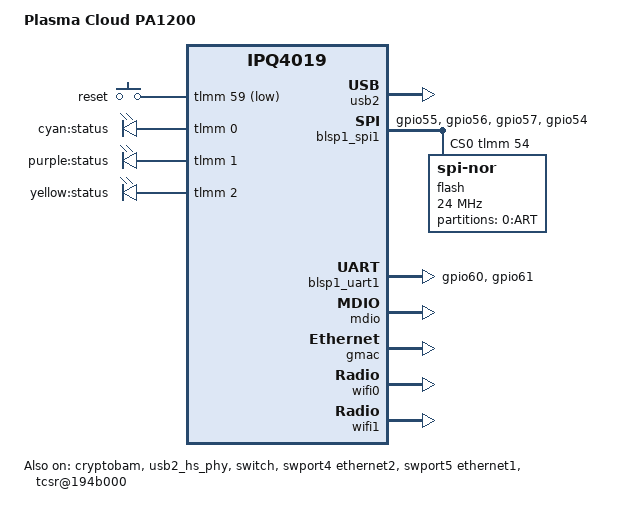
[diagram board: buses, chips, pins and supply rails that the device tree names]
// SPDX-License-Identifier: GPL-2.0-or-later OR MIT
/* Copyright (c) 2017-2020, Sven Eckelmann <sven@narfation.org>
 * Copyright (c) 2018, Marek Lindner <marek.lindner@kaiwoo.ai>
 */

#include "qcom-ipq4019.dtsi"
#include <dt-bindings/gpio/gpio.h>
#include <dt-bindings/input/input.h>
#include <dt-bindings/soc/qcom,tcsr.h>

/ {
	model = "Plasma Cloud PA1200";
	compatible = "plasmacloud,pa1200";

	soc {
		rng@22000 {
			status = "okay";
		};

		tcsr@194b000 {
			/* select hostmode */
			compatible = "qcom,tcsr";
			reg = <0x194b000 0x100>;
			qcom,usb-hsphy-mode-select = <TCSR_USB_HSPHY_HOST_MODE>;
			status = "okay";
		};

		tcsr@1949000 {
			compatible = "qcom,tcsr";
			reg = <0x1949000 0x100>;
			qcom,wifi_glb_cfg = <TCSR_WIFI_GLB_CFG>;
		};

		ess_tcsr@1953000 {
			compatible = "qcom,tcsr";
			reg = <0x1953000 0x1000>;
			qcom,ess-interface-select = <TCSR_ESS_PSGMII>;
		};

		tcsr@1957000 {
			compatible = "qcom,tcsr";
			reg = <0x1957000 0x100>;
			qcom,wifi_noc_memtype_m0_m2 = <TCSR_WIFI_NOC_MEMTYPE_M0_M2>;
		};

		usb2: usb2@60f8800 {
			status = "okay";
		};

		crypto@8e3a000 {
			status = "okay";
		};

		watchdog@b017000 {
			status = "okay";
		};
	};

	keys {
		compatible = "gpio-keys";

		reset {
			label = "reset";
			gpios = <&tlmm 59 GPIO_ACTIVE_LOW>;
			linux,code = <KEY_RESTART>;
		};
	};

	aliases {
		led-boot = &led_status_purple;
		led-failsafe = &led_status_yellow;
		led-running = &led_status_cyan;
		led-upgrade = &led_status_yellow;
		label-mac-device = &swport5;
	};

	leds {
		compatible = "gpio-leds";

		led_status_cyan: status_cyan {
			label = "cyan:status";
			gpios = <&tlmm 0 GPIO_ACTIVE_HIGH>;
		};

		led_status_purple: status_purple {
			label = "purple:status";
			gpios = <&tlmm 1 GPIO_ACTIVE_HIGH>;
		};

		led_status_yellow: status_yellow {
			label = "yellow:status";
			gpios = <&tlmm 2 GPIO_ACTIVE_HIGH>;
		};
	};

};

&tlmm {
	serial_pins: serial_pinmux {
		mux {
			pins = "gpio60", "gpio61";
			function = "blsp_uart0";
			bias-disable;
		};
	};

	spi_0_pins: spi_0_pinmux {
		pin {
			function = "blsp_spi0";
			pins = "gpio55", "gpio56", "gpio57";
			drive-strength = <12>;
			bias-disable;
		};
		pin_cs {
			function = "gpio";
			pins = "gpio54";
			drive-strength = <2>;
			bias-disable;
			output-high;
		};
	};
};

&blsp_dma {
	status = "okay";
};

&blsp1_spi1 {
	pinctrl-0 = <&spi_0_pins>;
	pinctrl-names = "default";
	status = "okay";
	cs-gpios = <&tlmm 54 GPIO_ACTIVE_HIGH>;

	flash@0 {
		#address-cells = <1>;
		#size-cells = <1>;
		compatible = "jedec,spi-nor";
		reg = <0>;
		spi-max-frequency = <24000000>;

		/* partitions are passed via bootloader */
		partitions {
			partition-art {
				compatible = "nvmem-cells";
				#address-cells = <1>;
				#size-cells = <1>;
				label = "0:ART";

				precal_art_1000: precal@1000 {
					reg = <0x1000 0x2f20>;
				};

				precal_art_5000: precal@5000 {
					reg = <0x5000 0x2f20>;
				};

				macaddr_gmac0: macaddr@0 {
					reg = <0x0 0x6>;
				};

				macaddr_gmac1: macaddr@6 {
					reg = <0x6 0x6>;
				};
			};
		};
	};
};

&blsp1_uart1 {
	pinctrl-0 = <&serial_pins>;
	pinctrl-names = "default";
	status = "okay";
};

&cryptobam {
	status = "okay";
};

&usb2_hs_phy {
	status = "okay";
};

&mdio {
	status = "okay";
};

&gmac {
	status = "okay";
};

&switch {
	status = "okay";
};

&swport4 {
	status = "okay";
	label = "ethernet2";

	nvmem-cell-names = "mac-address";
	nvmem-cells = <&macaddr_gmac1>;
};

&swport5 {
	status = "okay";
	label = "ethernet1";

	nvmem-cell-names = "mac-address";
	nvmem-cells = <&macaddr_gmac0>;
};

&wifi0 {
	status = "okay";
	qcom,ath10k-calibration-variant = "PlasmaCloud-PA1200";

	nvmem-cell-names = "pre-calibration";
	nvmem-cells = <&precal_art_1000>;
};

&wifi1 {
	status = "okay";
	qcom,ath10k-calibration-variant = "PlasmaCloud-PA1200";

	nvmem-cell-names = "pre-calibration";
	nvmem-cells = <&precal_art_5000>;
};
